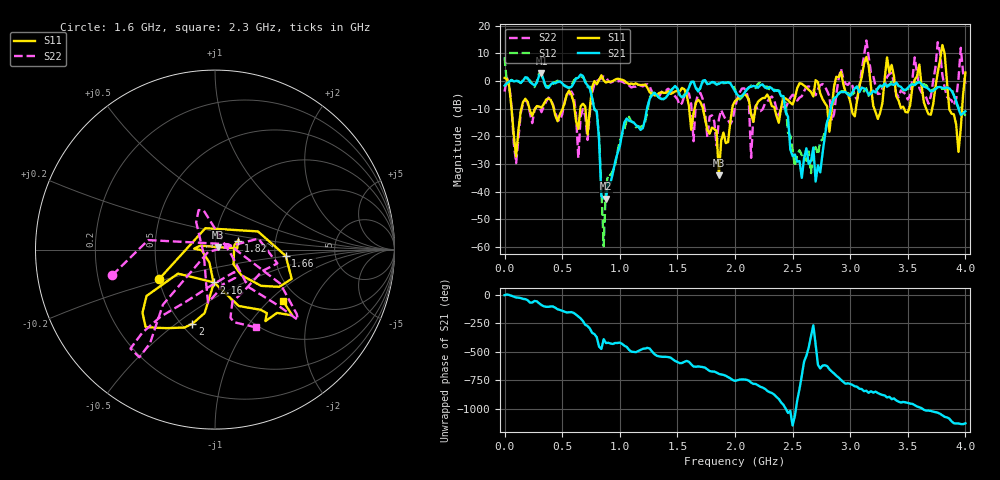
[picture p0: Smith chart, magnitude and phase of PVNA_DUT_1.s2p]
! PocketVna 1.78  pocketvna.com
! Live measurements ((Reflection-S11, Transmission-S21, Transmission-S12, Reflection-S22) Linear 500000-4000000000/201 calibrated)
# Hz S RI R 50
! Hz  ReS11  ImS11  ReS21  ImS21  ReS12  ImS12  ReS22  ImS22
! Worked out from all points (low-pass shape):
!   201 points, 500 kHz to 4 GHz, reference 50 ohm
!   highest |S21| = 2.72 dB at 320.5 MHz (marker M1); lowest = -42.5 dB at 880.4 MHz (marker M2)
!   |S21| within 3 dB of the highest: 40.39 MHz to 126.4 MHz (86 MHz wide, 103 % of centre); 607.2 MHz to 698.2 MHz (91 MHz wide, 13.9 % of centre) (the widest 2 of 6)
!   lowest |S11| = -34.1 dB at 1.86 GHz (marker M3), VSWR 1.04, Z = 51.4 + j1.41 ohm
!   |S11| at or under -10 dB: 60.86 MHz to 146.3 MHz (85.4 MHz wide, 82.5 % of centre); 1.722 GHz to 1.976 GHz (254.7 MHz wide, 13.8 % of centre); 3.859 GHz to 3.972 GHz (112.3 MHz wide, 2.87 % of centre) (the widest 3 of 15)
!   |S22| runs from -29.7 to 14.6 dB; largest |S21 - S12| = 2.3
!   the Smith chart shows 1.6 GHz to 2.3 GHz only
!   S11 on the Smith chart (normalised r, x): 1.6 GHz: 0.50, -0.19; 1.66 GHz: 2.29, -0.19; 1.82 GHz: 1.29, +0.12; 2 GHz: 0.57, -0.57; 2.16 GHz: 0.93, -0.35; 2.3 GHz: 1.66, -1.22
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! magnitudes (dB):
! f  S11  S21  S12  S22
! 500 kHz  1.1  -1.7  8.5  -3.9
! 100.5 MHz  -27.4  0.0  0.1  -29.7
! 320.5 MHz  -9.7  2.7  2.2  -11.3
! 640.4 MHz  -17.3  1.1  1.3  -27.9
! 680.4 MHz  -8.3  1.8  1.4  -10.2
! 800.4 MHz  -1.2  -11.0  -11.1  0.0
! 860.4 MHz  0.2  -42.5  -59.7  1.6
! 880.4 MHz  -0.6  -42.5  -37.9  1.4
! 1.34 GHz  -4.4  -6.0  -6.0  -5.7
! 1.6 GHz  -9.1  -2.4  -2.2  -4.6
! 1.66 GHz  -8.0  -2.6  -2.2  -7.7
! 1.82 GHz  -17.4  -0.5  -0.8  -14.7
! 1.86 GHz  -34.1  -1.1  -0.8  -13.9
! 2 GHz  -7.3  -3.8  -3.0  -9.7
! 2.16 GHz  -14.8  -1.8  -2.2  -12.1
! 2.3 GHz  -6.5  -2.2  -3.0  -6.2
! 2.68 GHz  -5.6  -24.1  -24.8  -3.1
! 3.34 GHz  3.1  -1.3  -1.7  2.5
! 3.7 GHz  -12.2  -3.8  -3.8  -5.5
! 3.8 GHz  13.0  -2.5  -2.8  2.2
! 3.94 GHz  -25.7  -10.1  -9.7  0.7
! 4 GHz  3.0  -11.0  -12.6  -1.1
